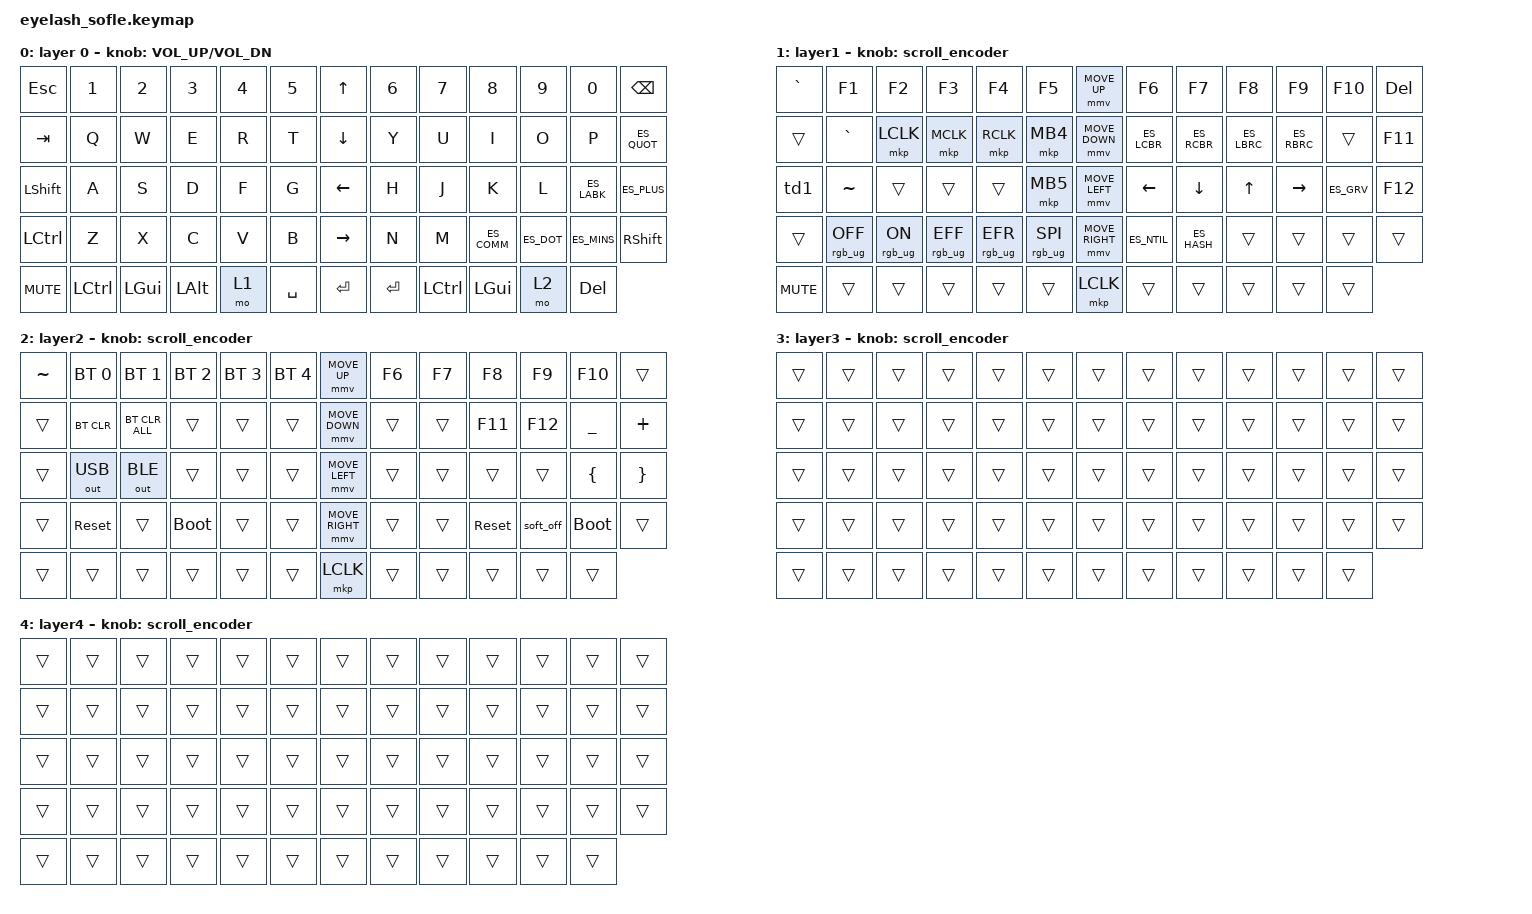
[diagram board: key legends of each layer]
#define ZMK_POINTING_DEFAULT_MOVE_VAL 1200  // 600
#define ZMK_POINTING_DEFAULT_SCRL_VAL 25   // 10

#include "keymap_spanish.h"
#include <input/processors.dtsi>
#include <zephyr/dt-bindings/input/input-event-codes.h>
#include <behaviors.dtsi>
#include <dt-bindings/zmk/bt.h>
#include <dt-bindings/zmk/keys.h>
#include <dt-bindings/zmk/outputs.h>
#include <dt-bindings/zmk/pointing.h>
#include <dt-bindings/zmk/rgb.h>

&mmv_input_listener { input-processors = <&zip_xy_scaler 2 1>; };

&msc_input_listener { input-processors = <&zip_scroll_scaler 2 1>; };

&msc {
    acceleration-exponent = <1>;      // 0
    time-to-max-speed-ms = <100>;       // 300
    delay-ms = <0>;                   // 0
};

&mmv {
    time-to-max-speed-ms = <500>;
    acceleration-exponent = <1>;
    trigger-period-ms = <16>;
};

&soft_off { hold-time-ms = <2000>; };

/ {
    scroll_encoder: scroll_encoder {
        compatible = "zmk,behavior-sensor-rotate";
        #sensor-binding-cells = <0>;
        bindings = <&msc SCRL_DOWN>, <&msc SCRL_UP>;

        tap-ms = <100>;
    };

    behaviors {
		td0: tap_dance_0 {
			compatible = "zmk,behavior-tap-dance";
			#binding-cells = <0>;
			tapping-term-ms = <200>;
			bindings = <&kp N>, <&kp ES_NTIL>;
		};
		td1: tap_dance_1 {
			compatible = "zmk,behavior-tap-dance";
			#binding-cells = <0>;
			tapping-term-ms = <200>;
			bindings = <&kp LSHFT>, <&kp CAPS>;
		};
    };

    combos {
        compatible = "zmk,combos";

        softoff {
            bindings = <&soft_off>;
            key-positions = <14 28 40>;
        };
    };

    macros {
        SHIFT_MCLK: SHIFT_MCLK {
            compatible = "zmk,behavior-macro";
            #binding-cells = <0>;
            bindings =
                <&macro_press>,
                <&kp LEFT_SHIFT>,
                <&macro_press>,
                <&mkp MB3>,
                <&macro_pause_for_release>,
                <&macro_release>,
                <&kp LEFT_SHIFT &mkp MB3>;

            label = "SHIFT_MCLK";
        };
    };

    keymap {
        compatible = "zmk,keymap";

        layer0 {
            bindings = <
&kp ESC     &kp N1     &kp N2        &kp N3        &kp N4  &kp N5       &kp UP_ARROW     &kp N6            &kp N7     &kp N8            &kp N9           &kp N0        &kp BACKSPACE
&kp TAB     &kp Q      &kp W         &kp E         &kp R   &kp T        &kp DOWN_ARROW   &kp Y             &kp U      &kp I             &kp O            &kp P         &kp ES_QUOT 
&kp LSHFT   &kp A      &kp S         &kp D         &kp F   &kp G        &kp LEFT_ARROW   &kp H             &kp J      &kp K             &kp L            &kp ES_LABK   &kp ES_PLUS 
&kp LCTRL   &kp Z      &kp X         &kp C         &kp V   &kp B        &kp RIGHT_ARROW  &kp N             &kp M      &kp ES_COMM       &kp ES_DOT       &kp ES_MINS   &kp RIGHT_SHIFT
&kp C_MUTE  &kp LCTRL  &kp LEFT_GUI  &kp LEFT_ALT  &mo 1   &kp SPACE    &kp ENTER        &kp ENTER         &kp LCTRL  &kp LEFT_GUI      &mo 2            &kp DELETE
            >;

            sensor-bindings = <&inc_dec_kp C_VOLUME_UP C_VOL_DN>;
            display-name = "layer 0";
        };

        layer_1 {
            bindings = <
&kp GRAVE   &kp F1           &kp F2          &kp F3           &kp F4           &kp F5             &mmv MOVE_UP     &kp F6           &kp F7           &kp F8           &kp F9        &kp F10           &kp DEL
&trans      &kp GRAVE        &mkp LCLK       &mkp MCLK        &mkp RCLK        &mkp MB4           &mmv MOVE_DOWN   &kp ES_LCBR      &kp ES_RCBR      &kp ES_LBRC      &kp ES_RBRC   &trans            &kp F11
&td1        &kp TILDE        &trans          &trans           &trans           &mkp MB5           &mmv MOVE_LEFT   &kp LEFT         &kp DOWN         &kp UP           &kp RIGHT     &kp ES_GRV        &kp F12
&trans      &rgb_ug RGB_OFF  &rgb_ug RGB_ON  &rgb_ug RGB_EFF  &rgb_ug RGB_EFR  &rgb_ug RGB_SPI    &mmv MOVE_RIGHT  &kp ES_NTIL      &kp ES_HASH      &trans           &trans        &trans            &trans
&kp C_MUTE  &trans           &trans          &trans           &trans           &trans             &mkp LCLK        &trans           &trans           &trans           &trans        &trans
            >;

            display-name = "layer1";
            sensor-bindings = <&scroll_encoder>;
        };

        layer_2 {
            bindings = <
&kp TILDE  &bt BT_SEL 0  &bt BT_SEL 1    &bt BT_SEL 2  &bt BT_SEL 3  &bt BT_SEL 4    &mmv MOVE_UP     &kp F6  &kp F7  &kp F8      &kp F9     &kp F10      &trans
&trans     &bt BT_CLR    &bt BT_CLR_ALL  &trans        &trans        &trans          &mmv MOVE_DOWN   &trans  &trans  &kp F11     &kp F12    &kp UNDER    &kp PLUS
&trans     &out OUT_USB  &out OUT_BLE    &trans        &trans        &trans          &mmv MOVE_LEFT   &trans  &trans  &trans      &trans     &kp LBRC     &kp RBRC
&trans     &sys_reset    &trans          &bootloader   &trans        &trans          &mmv MOVE_RIGHT  &trans  &trans  &sys_reset  &soft_off  &bootloader  &trans
&trans     &trans        &trans          &trans        &trans        &trans          &mkp LCLK        &trans  &trans  &trans      &trans     &trans
            >;

            display-name = "layer2";
            sensor-bindings = <&scroll_encoder>;
        };

        layer_3 {
            bindings = <
&trans  &trans  &trans  &trans  &trans  &trans    &trans  &trans  &trans  &trans  &trans  &trans  &trans
&trans  &trans  &trans  &trans  &trans  &trans    &trans  &trans  &trans  &trans  &trans  &trans  &trans
&trans  &trans  &trans  &trans  &trans  &trans    &trans  &trans  &trans  &trans  &trans  &trans  &trans
&trans  &trans  &trans  &trans  &trans  &trans    &trans  &trans  &trans  &trans  &trans  &trans  &trans
&trans  &trans  &trans  &trans  &trans  &trans    &trans  &trans  &trans  &trans  &trans  &trans
            >;

            display-name = "layer3";
            sensor-bindings = <&scroll_encoder>;
        };

        layer_4 {
            bindings = <
&trans  &trans  &trans  &trans  &trans  &trans    &trans  &trans  &trans  &trans  &trans  &trans  &trans
&trans  &trans  &trans  &trans  &trans  &trans    &trans  &trans  &trans  &trans  &trans  &trans  &trans
&trans  &trans  &trans  &trans  &trans  &trans    &trans  &trans  &trans  &trans  &trans  &trans  &trans
&trans  &trans  &trans  &trans  &trans  &trans    &trans  &trans  &trans  &trans  &trans  &trans  &trans
&trans  &trans  &trans  &trans  &trans  &trans    &trans  &trans  &trans  &trans  &trans  &trans
            >;

            display-name = "layer4";
            sensor-bindings = <&scroll_encoder>;
        };
    };
};


